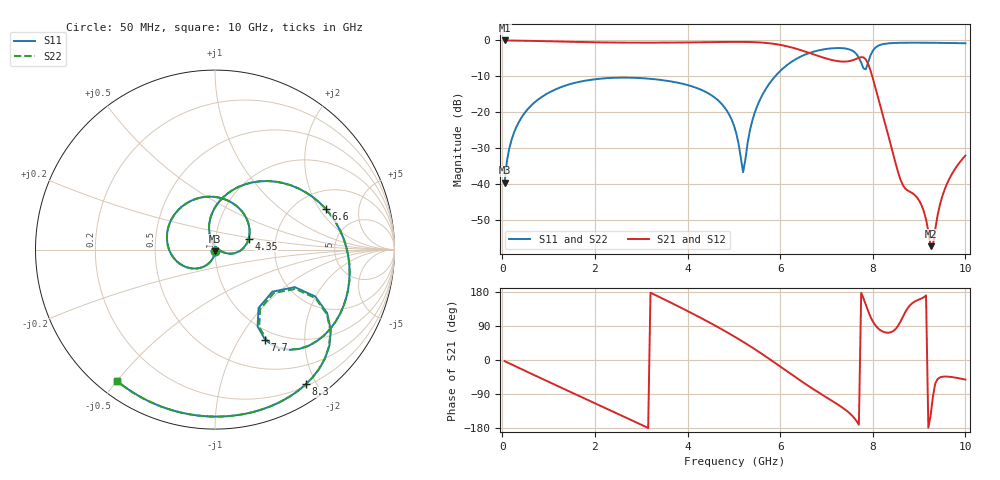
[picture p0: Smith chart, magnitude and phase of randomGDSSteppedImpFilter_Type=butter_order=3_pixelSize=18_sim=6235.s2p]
! freq	dB(S11)	phase(S11)	dB(S12)	phase(S12)
!  dB(S21)	phase(S21)	dB(S22)	phase(S22)
!S-par simulation data
#  GHz  S  DB  R 50
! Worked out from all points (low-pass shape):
!   200 points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, 50 MHz to 10 GHz, reference 50 ohm
!   highest |S21| = -0.01 dB at 50 MHz (marker M1); lowest = -57.4 dB at 9.25 GHz (marker M2)
!   |S21| within 3 dB of the highest: start of sweep to 6.519 GHz
!   lowest |S11| = -39.7 dB at 50 MHz (marker M3), VSWR 1.02, Z = 49.9 - j1.04 ohm
!   |S11| at or under -10 dB: start of sweep to 5.893 GHz
!   |S22| runs from -39.7 to -0.6 dB; largest |S21 - S12| = 0
!   S11 on the Smith chart (normalised r, x): 50 MHz: 1.00, -0.02; 4.35 GHz: 1.45, +0.19; 6.6 GHz: 2.86, +2.29; 7.7 GHz: 0.86, -1.31; 8.3 GHz: 0.22, -1.86; 10 GHz: 0.06, -0.50
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0.05  -39.65 -92.4  -0.01 -3.0  -0.01 -3.0  -39.65 -92.4
0.2  -27.72 -101.4  -0.03 -11.7  -0.03 -11.7  -27.72 -101.3
0.5  -19.96 -119.4  -0.09 -29.0  -0.09 -29.0  -19.96 -119.4
1.75  -11.32 169.4  -0.46 -99.8  -0.46 -99.8  -11.32 169.5
2.65  -10.37 118.7  -0.61 -150.6  -0.61 -150.6  -10.37 118.8
3.4  -10.98 75.4  -0.62 165.8  -0.62 165.8  -10.98 75.4
4.35  -14.09 18.2  -0.50 107.0  -0.50 107.0  -14.09 18.0
5.05  -25.77 -17.5  -0.40 59.1  -0.40 59.1  -25.81 -18.8
5.2  -36.75 42.1  -0.41 48.0  -0.41 48.0  -37.46 41.6
5.6  -15.60 99.9  -0.59 16.7  -0.59 16.7  -15.61 100.2
6.6  -3.65 20.2  -3.35 -67.7  -3.35 -67.7  -3.65 20.3
6.7  -3.22 12.5  -3.79 -75.6  -3.79 -75.6  -3.22 12.6
7.2  -2.14 -23.8  -5.68 -113.9  -5.68 -113.9  -2.13 -23.7
7.7  -4.78 -60.9  -4.84 -170.8  -4.84 -170.8  -4.72 -60.3
7.9  -6.17 -25.2  -6.53 129.3  -6.53 129.3  -6.02 -26.0
8.3  -0.87 -56.0  -24.81 72.1  -24.81 72.1  -0.86 -56.3
8.35  -0.80 -59.2  -27.23 72.2  -27.23 72.2  -0.79 -59.5
8.65  -0.64 -75.1  -40.37 114.0  -40.37 114.0  -0.64 -75.2
9.05  -0.63 -92.1  -45.87 162.3  -45.87 162.3  -0.63 -92.2
9.25  -0.65 -99.8  -57.39 -145.9  -57.39 -145.9  -0.65 -99.8
9.55  -0.69 -110.8  -41.66 -43.6  -41.66 -43.6  -0.69 -110.8
10  -0.79 -126.7  -32.11 -51.7  -32.11 -51.7  -0.79 -126.6
